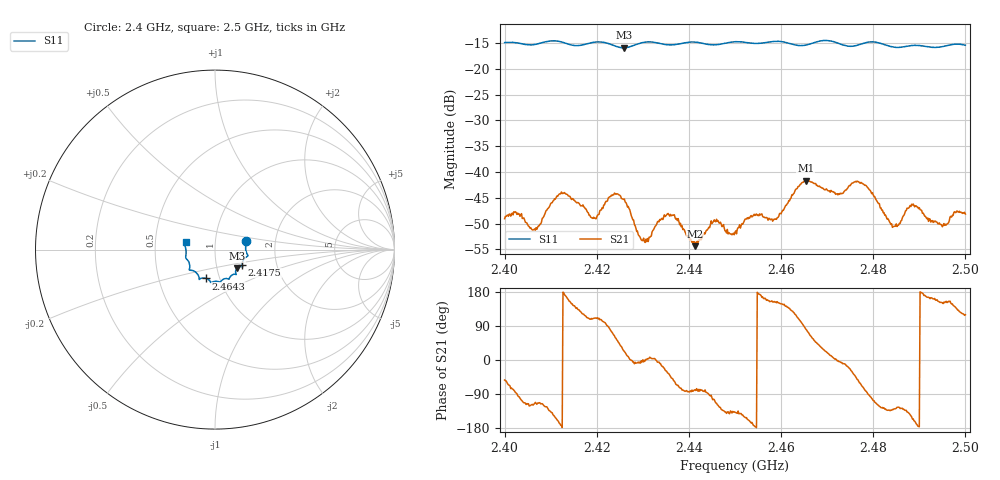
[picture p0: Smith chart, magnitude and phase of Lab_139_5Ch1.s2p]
# Hz S RI R
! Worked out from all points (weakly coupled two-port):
!   601 points, 2.4 GHz to 2.5 GHz, reference 50 ohm
!   highest |S21| = -41.65 dB at 2.4653 GHz (marker M1); lowest = -54.4 dB at 2.4413 GHz (marker M2)
!   lowest |S11| = -15.9 dB at 2.4258 GHz (marker M3), VSWR 1.38, Z = 62.3 - j13.3 ohm
!   |S11| at or under -10 dB: start of sweep to end of sweep
!   S12 and S22 are empty: the file has one direction only
!   S11 on the Smith chart (normalised r, x): 2.4 GHz: 1.41, +0.14; 2.4175 GHz: 1.34, -0.23; 2.4643 GHz: 0.86, -0.28; 2.5 GHz: 0.72, +0.06
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2.4e9  0.173 0.0485  0.00214 -0.00281  0 0  0 0
2.4065e9  0.172 -0.00437  -0.0012 -0.00255  0 0  0 0
2.412167e9  0.1791 -0.0382  -0.00609 -0.000847  0 0  0 0
2.416667e9  0.1527 -0.0742  -0.00272 0.00386  0 0  0 0
2.4175e9  0.1517 -0.0835  -0.00199 0.00395  0 0  0 0
2.4195e9  0.1534 -0.0968  -0.00126 0.00335  0 0  0 0
2.425833e9  0.1219 -0.1037  0.00493 0.00229  0 0  0 0
2.43e9  0.1172 -0.1367  0.00217 2.25e-05  0 0  0 0
2.433333e9  0.1127 -0.1374  0.00332 -0.000325  0 0  0 0
2.4365e9  0.0904 -0.1453  0.00248 -0.00293  0 0  0 0
2.441333e9  0.0767 -0.1648  0.000378 -0.00188  0 0  0 0
2.445833e9  0.0489 -0.1641  -0.00131 -0.00303  0 0  0 0
2.45e9  0.0288 -0.181  -0.00194 -0.00175  0 0  0 0
2.459e9  -0.0223 -0.1838  -0.00305 0.00168  0 0  0 0
2.464333e9  -0.0498 -0.1606  -0.00138 0.00756  0 0  0 0
2.465333e9  -0.0617 -0.1582  0.00116 0.00819  0 0  0 0
2.466667e9  -0.0758 -0.1594  0.00406 0.00693  0 0  0 0
2.477833e9  -0.1341 -0.1152  0.00229 -0.00733  0 0  0 0
2.483333e9  -0.1406 -0.0897  -0.00231 -0.00255  0 0  0 0
2.488333e9  -0.1612 -0.0487  -0.00422 -0.00244  0 0  0 0
2.495e9  -0.1638 0.00975  -0.00259 0.00142  0 0  0 0
2.5e9  -0.1639 0.043  -0.00192 0.00342  0 0  0 0
